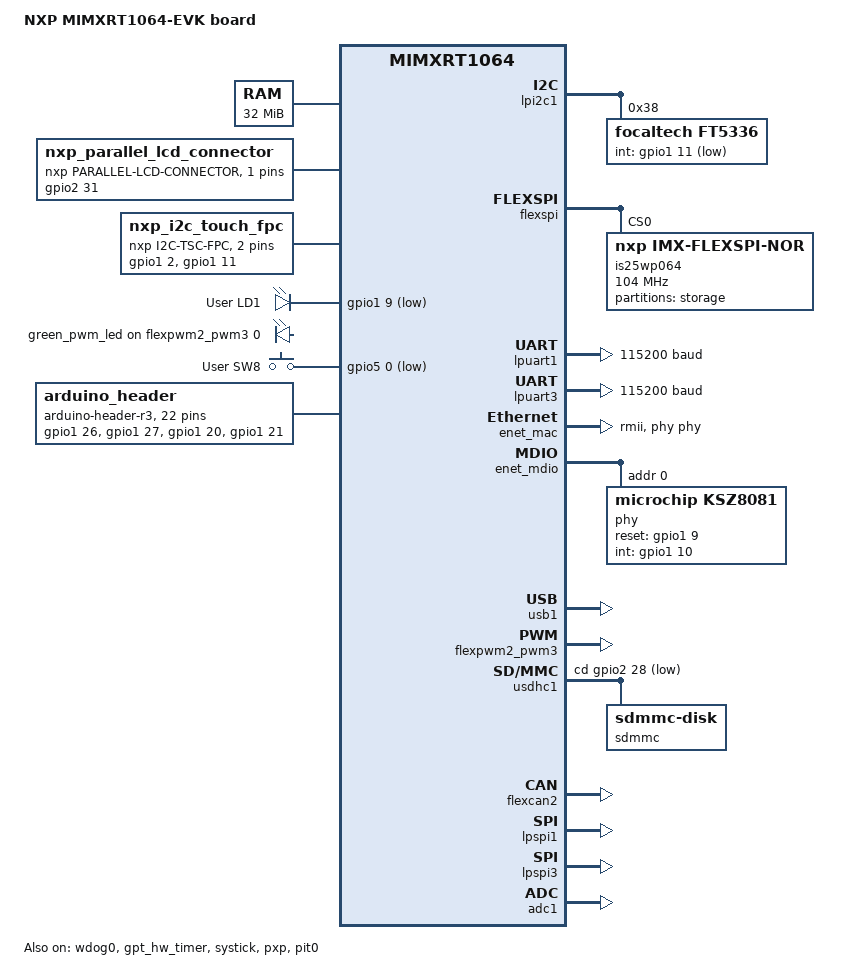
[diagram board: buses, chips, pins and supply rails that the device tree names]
/*
 * Copyright (c) 2018, NXP
 *
 * SPDX-License-Identifier: Apache-2.0
 */

/dts-v1/;

#include <nxp/nxp_rt1064.dtsi>
#include "mimxrt1064_evk-pinctrl.dtsi"
#include <zephyr/dt-bindings/gpio/arduino-header-r3.h>
#include <zephyr/dt-bindings/input/input-event-codes.h>

/ {
	compatible = "nxp,mimxrt1064";
	model = "NXP MIMXRT1064-EVK board";

	aliases {
		led0 = &green_led;
		pwm-led0 = &green_pwm_led;
		sw0 = &user_button;
		watchdog0 = &wdog0;
		sdhc0 = &usdhc1;
		mcuboot-button0 = &user_button;
	};

	chosen {
		zephyr,flash-controller = &is25wp064;
		zephyr,flash = &w25q32jvwj0;
		zephyr,code-partition = &slot0_partition;
		zephyr,uart-mcumgr = &lpuart1;
		zephyr,sram = &sdram0;
		zephyr,itcm = &itcm;
		zephyr,dtcm = &dtcm;
		zephyr,console = &lpuart1;
		zephyr,shell-uart = &lpuart1;
		zephyr,canbus = &flexcan2;
		zephyr,touch = &ft5336;
	};

	sdram0: memory@80000000 {
		reg = <0x80000000 DT_SIZE_M(32)>;
		/* Micron MT48LC16M16A2B4-6AIT:G */
		device_type = "memory";
	};

	/*
	 * This node describes the GPIO pins of the parallel FPC interface,
	 * This interface is standard to several NXP EVKs, and is used with
	 * several parallel LCD displays (available as zephyr shields)
	 */
	nxp_parallel_lcd_connector: parallel-connector {
		compatible = "nxp,parallel-lcd-connector";
		#gpio-cells = <2>;
		gpio-map-mask = <0xffffffff 0xffffffc0>;
		gpio-map-pass-thru = <0 0x3f>;
		gpio-map = <0 0 &gpio2 31 0>;	/* Pin 1, BL+ */
	};

	/*
	 * This node describes the GPIO pins of the I2C display FPC interface,
	 * This interface is standard to several NXP EVKs, and is used with
	 * several parallel LCD displays (available as zephyr shields)
	 */
	nxp_i2c_touch_fpc: i2c-touch-connector {
		compatible = "nxp,i2c-tsc-fpc";
		#gpio-cells = <2>;
		gpio-map-mask = <0xffffffff 0xffffffc0>;
		gpio-map-pass-thru = <0 0x3f>;
		gpio-map = <1 0 &gpio1 2 0>,	/* Pin 2, LCD touch RST */
			   <2 0 &gpio1 11 0>;	/* Pin 3, LCD touch INT */
	};

	leds {
		compatible = "gpio-leds";

		green_led: led-1 {
			gpios = <&gpio1 9 GPIO_ACTIVE_LOW>;
			label = "User LD1";
		};
	};

	pwmleds {
		compatible = "pwm-leds";

		green_pwm_led: green_pwm_led {
			pwms = <&flexpwm2_pwm3 0 PWM_MSEC(20) PWM_POLARITY_NORMAL>;
		};
	};

	gpio_keys {
		compatible = "gpio-keys";

		user_button: button-1 {
			label = "User SW8";
			gpios = <&gpio5 0 (GPIO_PULL_UP | GPIO_ACTIVE_LOW)>;
			zephyr,code = <INPUT_KEY_0>;
		};
	};

	lvgl_pointer {
		compatible = "zephyr,lvgl-pointer-input";
		input = <&ft5336>;
	};

	arduino_header: connector {
		compatible = "arduino-header-r3";
		#gpio-cells = <2>;
		gpio-map-mask = <0xffffffff 0xffffffc0>;
		gpio-map-pass-thru = <0 0x3f>;
		gpio-map = <ARDUINO_HEADER_R3_A0 0 &gpio1 26 0>,
			   <ARDUINO_HEADER_R3_A1 0 &gpio1 27 0>,
			   <ARDUINO_HEADER_R3_A2 0 &gpio1 20 0>,
			   <ARDUINO_HEADER_R3_A3 0 &gpio1 21 0>,
			   <ARDUINO_HEADER_R3_A4 0 &gpio1 17 0>,
			   <ARDUINO_HEADER_R3_A5 0 &gpio1 16 0>,
			   <ARDUINO_HEADER_R3_D0 0 &gpio1 23 0>,
			   <ARDUINO_HEADER_R3_D1 0 &gpio1 22 0>,
			   <ARDUINO_HEADER_R3_D2 0 &gpio1 11 0>,
			   <ARDUINO_HEADER_R3_D3 0 &gpio1 24 0>,
			   <ARDUINO_HEADER_R3_D4 0 &gpio1 9 0>,
			   <ARDUINO_HEADER_R3_D5 0 &gpio1 10 0>,
			   <ARDUINO_HEADER_R3_D6 0 &gpio1 18 0>,
			   <ARDUINO_HEADER_R3_D7 0 &gpio1 19 0>,
			   <ARDUINO_HEADER_R3_D8 0 &gpio1 3 0>,
			   <ARDUINO_HEADER_R3_D9 0 &gpio1 2 0>,
			   <ARDUINO_HEADER_R3_D10 0 &gpio3 13 0>,
			   <ARDUINO_HEADER_R3_D11 0 &gpio3 14 0>,
			   <ARDUINO_HEADER_R3_D12 0 &gpio3 15 0>,
			   <ARDUINO_HEADER_R3_D13 0 &gpio3 12 0>,
			   <ARDUINO_HEADER_R3_D14 0 &gpio1 17 0>,
			   <ARDUINO_HEADER_R3_D15 0 &gpio1 16 0>;
	};
};

nxp_touch_i2c: &lpi2c1 {};

zephyr_lcdif: &lcdif {
	pinctrl-0 = <&pinmux_lcdif>;
	pinctrl-names = "default";
};

nxp_parallel_i2c: &lpi2c1 {};

&lpi2c1 {
	pinctrl-0 = <&pinmux_lpi2c1>;
	pinctrl-names = "default";
	status = "okay";

	ft5336: ft5336@38 {
		compatible = "focaltech,ft5336";
		reg = <0x38>;
		int-gpios = <&gpio1 11 GPIO_ACTIVE_LOW>;
	};
};

&flexspi {
	reg = <0x402a8000 0x4000>, <0x60000000 DT_SIZE_M(8)>;
	pinctrl-0 = <&pinmux_flexspi1>;
	pinctrl-names = "default";
	ahb-prefetch;
	ahb-read-addr-opt;
	rx-clock-source = <1>;
	status = "okay";

	is25wp064: is25wp064@0 {
		compatible = "nxp,imx-flexspi-nor";
		reg = <0>;
		size = <DT_SIZE_M(8 * 8)>;
		spi-max-frequency = <DT_FREQ_M(104)>;
		jedec-id = [9d 70 17];
		erase-block-size = <DT_SIZE_K(4)>;
		write-block-size = <1>;
		status = "okay";

		partitions {
			compatible = "fixed-partitions";
			#address-cells = <1>;
			#size-cells = <1>;

			storage_partition: partition@0 {
				reg = <0x00000000 DT_SIZE_M(8)>;
				label = "storage";
			};
		};
	};
};

&w25q32jvwj0 {
	partitions {
		compatible = "fixed-partitions";
		#address-cells = <1>;
		#size-cells = <1>;

		/*
		 * Partition sizes must be aligned
		 * to the flash memory sector size of 4KB.
		 */
		boot_partition: partition@0 {
			reg = <0x00000000 DT_SIZE_K(128)>;
			label = "mcuboot";
		};

		slot0_partition: partition@20000 {
			reg = <0x00020000 DT_SIZE_K(1984)>;
			label = "image-0";
		};

		slot1_partition: partition@210000 {
			reg = <0x00210000 DT_SIZE_K(1984)>;
			label = "image-1";
		};
		/* The storage partition is located in is25wp064 */
	};
};

&lpuart1 {
	pinctrl-0 = <&pinmux_lpuart1>;
	pinctrl-1 = <&pinmux_lpuart1_sleep>;
	pinctrl-names = "default", "sleep";
	current-speed = <115200>;
	status = "okay";
};

arduino_serial: &lpuart3 {
	current-speed = <115200>;
	pinctrl-0 = <&pinmux_lpuart3>;
	pinctrl-1 = <&pinmux_lpuart3_sleep>;
	pinctrl-names = "default", "sleep";
};

&enet_mac {
	pinctrl-0 = <&pinmux_enet>;
	pinctrl-names = "default";
	phy-handle = <&phy>;
	phy-connection-type = "rmii";
	zephyr,random-mac-address;
	status = "okay";
};

&enet_mdio {
	pinctrl-0 = <&pinmux_enet_mdio>;
	pinctrl-names = "default";
	status = "okay";

	phy: phy@0 {
		compatible = "microchip,ksz8081";
		reg = <0>;
		reset-gpios = <&gpio1 9 GPIO_ACTIVE_HIGH>;
		int-gpios = <&gpio1 10 GPIO_ACTIVE_HIGH>;
		microchip,interface-type = "rmii";
		status = "okay";
	};
};

&enet_ptp_clock {
	pinctrl-0 = <&pinmux_ptp>;
	pinctrl-names = "default";
	status = "okay";
};

zephyr_udc0: &usb1 {
	status = "okay";
};

&csi {
	pinctrl-0 = <&pinmux_csi>;
	pinctrl-names = "default";
};

&flexpwm2_pwm3 {
	pinctrl-0 = <&pinmux_flexpwm2>;
	pinctrl-names = "default";
	status = "okay";
};

&usdhc1 {
	pwr-gpios = <&gpio1 19 GPIO_ACTIVE_HIGH>;
	cd-gpios = <&gpio2 28 GPIO_ACTIVE_LOW>;
	pinctrl-0 = <&pinmux_usdhc1>;
	pinctrl-1 = <&pinmux_usdhc1_slow>;
	pinctrl-2 = <&pinmux_usdhc1_med>;
	pinctrl-3 = <&pinmux_usdhc1_fast>;
	pinctrl-names = "default", "slow", "med", "fast";
	status = "okay";

	sdmmc {
		compatible = "zephyr,sdmmc-disk";
		disk-name = "SD";
		status = "okay";
	};
};

&edma0 {
	status = "okay";
};

&flexcan2 {
	pinctrl-0 = <&pinmux_flexcan2>;
	pinctrl-names = "default";
	status = "okay";

	can-transceiver {
		max-bitrate = <5000000>;
	};
};

&wdog0 {
	status = "okay";
};

&lpspi1 {
	/* DMA channels 0 and 1, muxed to LPSPI1 RX and TX */
	dmas = <&edma0 0 13>, <&edma0 1 14>;
	dma-names = "rx", "tx";
	tristate-output;
	pinctrl-0 = <&pinmux_lpspi1>;
	pinctrl-names = "default";
	status = "okay";
};

&lpspi3 {
	/* DMA channels 2 and 3, muxed to LPSPI3 RX and TX */
	dmas = <&edma0 2 15>, <&edma0 3 16>;
	dma-names = "rx", "tx";
	pinctrl-0 = <&pinmux_lpspi3>;
	pinctrl-names = "default";
	status = "okay";
};

&adc1 {
	pinctrl-0 = <&pinmux_adc1>;
	pinctrl-names = "default";
	status = "okay";
};

/* GPT and Systick are enabled. If power management is enabled, the GPT
 * timer will be used instead of systick, as allows the core clock to
 * be gated.
 */
&gpt_hw_timer {
	status = "okay";
};

&systick {
	status = "okay";
};

&itm {
	pinctrl-0 = <&pinmux_swo>;
	pinctrl-names = "default";
};

&pxp {
	status = "okay";
};

&pit0 {
	status = "okay";
};

dvp_fpc24_i2c: &lpi2c1 {};

dvp_fpc24_interface: &csi {};
